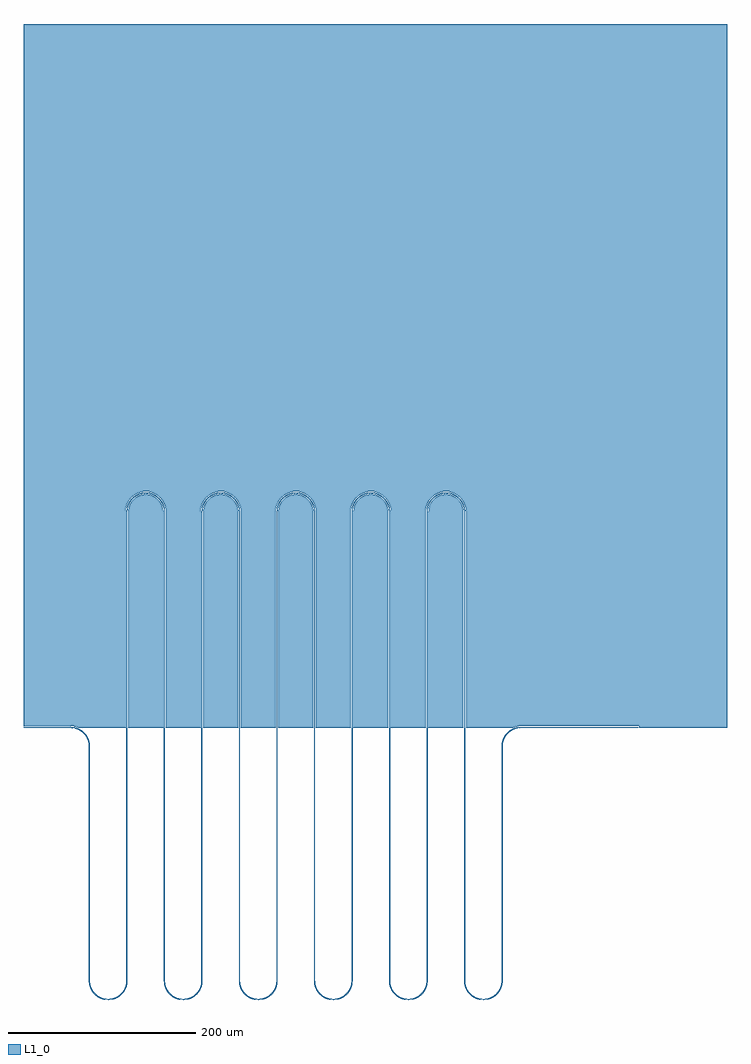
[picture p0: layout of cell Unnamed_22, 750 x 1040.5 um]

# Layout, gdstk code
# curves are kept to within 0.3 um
import gdstk
lib = gdstk.Library(unit=1e-6, precision=1e-09)
def P(c, l, *ps):  # polygons
    for p in ps: c.add(gdstk.Polygon(p, *l))
L1_0 = (1, 0)

unnamed_24 = lib.new_cell('Unnamed_24')
P(unnamed_24, L1_0, [(89.871,-290.5),(86.017,-290.109),(82.305,-289.001),(78.867,-287.214),(76.016,-284.99),(73.446,-282.091),(71.466,-278.761),(70.215,-275.368),(69.559,-271.55),(69.5,-20.002),(69.275,-17.047),(68.606,-14.162),(67.615,-11.635),(66.417,-9.476),(64.955,-7.487),(63.255,-5.697),(61.14,-3.995),(59.028,-2.716),(56.772,-1.714),(54.167,-0.95),(50.247,-0.502),(0,-0.5),(0,0.5),(50.002,0.5),(53.872,0.131),(56.384,-0.519),(58.794,-1.482),(61.063,-2.742),(63.155,-4.278),(65.036,-6.066),(66.676,-8.077),(68.049,-10.279),(69.132,-12.637),(70.131,-16.128),(70.5,-19.998),(70.5,-269.998),(70.723,-272.941),(71.387,-275.815),(72.586,-278.776),(74.253,-281.502),(76.168,-283.745),(78.598,-285.819),(81.334,-287.469),(84.068,-288.576),(87.181,-289.295),(90.369,-289.496),(93.548,-289.175),(96.631,-288.338),(99.321,-287.128),(101.798,-285.526),(104.174,-283.392),(106.032,-281.101),(107.629,-278.334),(108.46,-276.283),(108.999,-274.391),(109.374,-272.209),(109.5,-269.998),(109.502,230.259),(109.775,233.347),(110.511,236.359),(111.693,239.226),(113.146,241.67),(115.099,244.078),(117.393,246.165),(119.975,247.881),(122.786,249.189),(125.763,250.057),(128.837,250.467),(131.937,250.408),(134.993,249.883),(137.935,248.902),(140.695,247.489),(143.407,245.508),(145.593,243.309),(147.421,240.805),(148.852,238.054),(149.851,235.118),(150.396,232.066),(150.5,230.002),(150.514,-270.738),(151.001,-274.391),(152.267,-278.111),(154.109,-281.302),(156.519,-284.09),(159.411,-286.374),(162.68,-288.074),(166.211,-289.128),(169.877,-289.5),(173.548,-289.175),(177.32,-288.074),(180.589,-286.374),(183.481,-284.09),(185.891,-281.302),(187.733,-278.111),(188.999,-274.391),(189.486,-270.738),(189.5,230.002),(189.604,232.066),(189.916,234.11),(191.048,237.815),(192.579,240.805),(194.577,243.504),(196.989,245.842),(199.75,247.754),(202.786,249.189),(206.271,250.158),(209.612,250.496),(212.964,250.285),(216.236,249.528),(219.341,248.248),(222.196,246.478),(224.722,244.265),(226.854,241.67),(228.534,238.761),(229.715,235.617),(230.368,232.323),(230.5,230.002),(230.514,-270.738),(231.001,-274.391),(232.166,-277.886),(233.968,-281.101),(236.343,-283.918),(239.205,-286.239),(242.453,-287.98),(245.97,-289.079),(249.631,-289.496),(253.548,-289.175),(257.091,-288.165),(260.589,-286.374),(263.481,-284.09),(265.891,-281.302),(267.733,-278.111),(268.999,-274.391),(269.486,-270.738),(269.5,230.002),(269.632,232.323),(270.357,235.866),(271.693,239.226),(273.599,242.299),(275.828,244.812),(278.651,247.072),(281.828,248.801),(285.007,249.883),(288.579,250.451),(292.194,250.382),(295.742,249.68),(298.878,248.478),(301.987,246.63),(304.541,244.45),(306.854,241.67),(308.643,238.527),(309.851,235.118),(310.337,232.58),(310.5,230.002),(310.514,-270.738),(311.001,-274.391),(312.267,-278.111),(314.109,-281.302),(316.519,-284.09),(319.411,-286.374),(322.68,-288.074),(326.452,-289.175),(330.123,-289.5),(333.789,-289.128),(337.32,-288.074),(340.589,-286.374),(343.481,-284.09),(345.891,-281.302),(347.733,-278.111),(348.999,-274.391),(349.486,-270.738),(349.5,230.002),(349.604,232.066),(350.215,235.368),(351.251,238.291),(352.716,241.024),(354.748,243.698),(356.989,245.842),(359.75,247.754),(362.786,249.189),(365.763,250.057),(368.837,250.467),(372.194,250.382),(375.243,249.818),(378.409,248.696),(381.133,247.214),(383.794,245.165),(386.085,242.709),(387.818,240.138),(388.952,237.815),(389.785,235.368),(390.303,232.836),(390.5,230.002),(390.514,-270.738),(391.001,-274.391),(392.267,-278.111),(394.109,-281.302),(396.519,-284.09),(399.411,-286.374),(402.68,-288.074),(406.452,-289.175),(410.123,-289.5),(413.789,-289.128),(417.32,-288.074),(420.589,-286.374),(423.481,-284.09),(425.891,-281.302),(427.733,-278.111),(428.999,-274.391),(429.486,-270.738),(429.5,230.002),(429.604,232.066),(430.026,234.616),(430.766,237.092),(431.811,239.456),(433.294,241.882),(434.922,243.889),(436.989,245.842),(439.305,247.489),(441.591,248.696),(444.01,249.606),(446.78,250.246),(449.353,250.49),(451.937,250.408),(454.742,249.944),(457.214,249.189),(459.571,248.129),(461.776,246.78),(463.601,245.338),(465.252,243.698),(466.706,241.882),(468.068,239.685),(469.049,237.575),(469.785,235.368),(470.266,233.092),(470.493,230.517),(470.502,-270.246),(470.803,-273.427),(471.621,-276.515),(472.931,-279.429),(474.7,-282.089),(476.519,-284.09),(478.798,-285.962),(481.334,-287.469),(484.068,-288.576),(486.695,-289.218),(489.631,-289.496),(492.332,-289.36),(495.225,-288.787),(497.999,-287.784),(500.382,-286.506),(502.753,-284.752),(504.671,-282.846),(506.441,-280.486),(507.733,-278.111),(508.685,-275.58),(509.312,-272.698),(509.5,-269.998),(509.502,-19.74),(509.736,-16.896),(510.364,-14.111),(511.372,-11.441),(512.742,-8.937),(514.112,-7.045),(515.689,-5.322),(517.658,-3.631),(519.6,-2.334),(521.678,-1.265),(523.863,-0.44),(526.128,0.131),(528.702,0.459),(655,0.5),(655,-0.5),(528.519,-0.556),(526.075,-0.899),(523.693,-1.548),(521.412,-2.493),(519.269,-3.718),(517.298,-5.204),(515.531,-6.928),(513.995,-8.86),(512.716,-10.972),(511.801,-12.996),(511.062,-15.352),(510.656,-17.536),(510.502,-19.753),(510.493,-270.517),(510.225,-273.347),(509.489,-276.359),(508.307,-279.226),(506.854,-281.67),(504.901,-284.078),(502.607,-286.165),(500.025,-287.881),(497.214,-289.189),(494.237,-290.057),(491.163,-290.467),(488.063,-290.408),(485.007,-289.883),(482.065,-288.902),(479.305,-287.489),(476.593,-285.508),(474.407,-283.309),(472.579,-280.805),(471.148,-278.054),(470.149,-275.118),(469.604,-272.066),(469.5,-270.002),(469.486,230.738),(468.999,234.391),(467.733,238.111),(465.891,241.302),(463.481,244.09),(460.589,246.374),(457.32,248.074),(453.789,249.128),(450.123,249.5),(446.452,249.175),(442.68,248.074),(439.411,246.374),(436.519,244.09),(434.109,241.302),(432.267,238.111),(431.001,234.391),(430.514,230.738),(430.5,-270.002),(430.396,-272.066),(430.084,-274.11),(428.952,-277.815),(427.421,-280.805),(425.423,-283.504),(423.011,-285.842),(420.25,-287.754),(417.214,-289.189),(413.729,-290.158),(410.388,-290.496),(407.036,-290.285),(403.764,-289.528),(400.659,-288.248),(397.804,-286.478),(395.278,-284.265),(393.146,-281.67),(391.466,-278.761),(390.285,-275.617),(389.632,-272.323),(389.5,-270.002),(389.486,230.738),(388.999,234.391),(387.834,237.886),(386.032,241.101),(383.657,243.918),(380.795,246.239),(377.547,247.98),(374.03,249.079),(370.369,249.496),(366.452,249.175),(362.909,248.165),(359.411,246.374),(356.519,244.09),(354.109,241.302),(352.267,238.111),(351.001,234.391),(350.514,230.738),(350.5,-270.002),(350.368,-272.323),(349.643,-275.866),(348.307,-279.226),(346.401,-282.299),(344.172,-284.812),(341.349,-287.072),(338.172,-288.801),(334.993,-289.883),(331.421,-290.451),(327.806,-290.382),(324.258,-289.68),(321.122,-288.478),(318.013,-286.63),(315.459,-284.45),(313.146,-281.67),(311.357,-278.527),(310.149,-275.118),(309.663,-272.58),(309.5,-270.002),(309.486,230.738),(308.999,234.391),(307.733,238.111),(305.891,241.302),(303.481,244.09),(300.589,246.374),(297.32,248.074),(293.548,249.175),(289.877,249.5),(286.211,249.128),(282.68,248.074),(279.411,246.374),(276.519,244.09),(274.109,241.302),(272.267,238.111),(271.001,234.391),(270.514,230.738),(270.5,-270.002),(270.396,-272.066),(269.785,-275.368),(268.749,-278.291),(267.284,-281.024),(265.252,-283.698),(263.011,-285.842),(260.25,-287.754),(257.214,-289.189),(254.237,-290.057),(251.163,-290.467),(247.806,-290.382),(244.757,-289.818),(241.591,-288.696),(238.867,-287.214),(236.206,-285.165),(233.915,-282.709),(232.182,-280.138),(231.048,-277.815),(230.215,-275.368),(229.697,-272.836),(229.5,-270.002),(229.486,230.738),(228.999,234.391),(227.733,238.111),(225.891,241.302),(223.481,244.09),(220.589,246.374),(217.32,248.074),(213.548,249.175),(209.877,249.5),(206.211,249.128),(202.68,248.074),(199.411,246.374),(196.519,244.09),(194.109,241.302),(192.267,238.111),(191.001,234.391),(190.514,230.738),(190.5,-270.002),(190.396,-272.066),(189.851,-275.118),(188.852,-278.054),(187.421,-280.805),(185.593,-283.309),(183.407,-285.508),(180.914,-287.353),(178.172,-288.801),(175.243,-289.818),(172.194,-290.382),(169.095,-290.48),(166.017,-290.109),(163.029,-289.278),(160.201,-288.006),(157.597,-286.323),(155.278,-284.265),(153.294,-281.882),(151.693,-279.226),(150.511,-276.359),(149.734,-273.092),(149.5,-270.002),(149.486,230.738),(148.999,234.391),(147.733,238.111),(145.891,241.302),(143.481,244.09),(140.589,246.374),(137.091,248.165),(133.548,249.175),(129.631,249.496),(125.97,249.079),(122.453,247.98),(119.205,246.239),(116.343,243.918),(113.968,241.101),(112.166,237.886),(111.001,234.391),(110.514,230.738),(110.441,-271.55),(109.785,-275.368),(108.534,-278.761),(106.554,-282.091),(103.984,-284.99),(100.914,-287.353),(97.455,-289.096),(93.729,-290.158)])

unnamed_26 = lib.new_cell('Unnamed_26')
P(unnamed_26, L1_0, [(111.5,0),(111.554,231.406),(112.206,235.063),(113.585,238.532),(115.624,241.644),(118.075,244.144),(121.15,246.246),(124.381,247.626),(128.027,248.394),(131.512,248.438),(137.796,246.777),(143.129,243.034),(146.823,237.697),(147.972,234.387),(148.464,231.16),(148.5,0)],
  [(191.5,0),(191.554,231.406),(192.206,235.063),(193.585,238.532),(195.624,241.644),(198.075,244.144),(201.15,246.246),(204.381,247.626),(208.027,248.394),(211.512,248.438),(217.796,246.777),(223.129,243.034),(226.823,237.697),(227.972,234.387),(228.464,231.16),(228.5,0)],
  [(271.5,0),(271.554,231.406),(272.206,235.063),(273.585,238.532),(275.624,241.644),(278.075,244.144),(281.15,246.246),(284.381,247.626),(288.027,248.394),(291.512,248.438),(297.796,246.777),(303.129,243.034),(306.823,237.697),(307.972,234.387),(308.464,231.16),(308.5,0)],
  [(351.5,0),(351.554,231.406),(352.206,235.063),(353.585,238.532),(355.624,241.644),(358.075,244.144),(361.15,246.246),(364.381,247.626),(368.027,248.394),(371.512,248.438),(377.796,246.777),(383.129,243.034),(386.823,237.697),(387.972,234.387),(388.464,231.16),(388.5,0)],
  [(431.5,0),(431.554,231.406),(432.206,235.063),(433.585,238.532),(435.624,241.644),(438.075,244.144),(441.15,246.246),(444.381,247.626),(448.027,248.394),(451.512,248.438),(457.796,246.777),(463.129,243.034),(466.823,237.697),(467.972,234.387),(468.464,231.16),(468.5,0)],
  [(57.887,0),(54.329,1.059),(50.544,1.493),(0,1.5),(0,750),(750,750),(750,0),(656,0),(656,1.5),(529.726,1.498),(525.939,1.113),(522.112,0),(471.5,0),(471.416,231.895),(470.75,235.631),(469.321,239.433),(467.202,242.898),(464.667,245.721),(461.676,248.054),(458.07,249.928),(454.178,251.09),(450.137,251.5),(446.351,251.188),(442.434,250.125),(438.783,248.342),(435.533,245.905),(432.798,242.898),(430.679,239.433),(429.25,235.631),(428.584,231.895),(428.5,0),(391.5,0),(391.416,231.895),(390.75,235.631),(389.321,239.433),(387.202,242.898),(384.667,245.721),(381.676,248.054),(378.07,249.928),(374.178,251.09),(370.137,251.5),(366.351,251.188),(362.434,250.125),(358.783,248.342),(355.533,245.905),(352.798,242.898),(350.679,239.433),(349.25,235.631),(348.584,231.895),(348.5,0),(311.5,0),(311.416,231.895),(310.75,235.631),(309.321,239.433),(307.202,242.898),(304.667,245.721),(301.676,248.054),(298.07,249.928),(294.178,251.09),(290.137,251.5),(286.351,251.188),(282.434,250.125),(278.783,248.342),(275.533,245.905),(272.798,242.898),(270.679,239.433),(269.25,235.631),(268.584,231.895),(268.5,0),(231.5,0),(231.416,231.895),(230.75,235.631),(229.321,239.433),(227.202,242.898),(224.667,245.721),(221.676,248.054),(218.07,249.928),(214.178,251.09),(210.137,251.5),(206.351,251.188),(202.434,250.125),(198.783,248.342),(195.533,245.905),(192.798,242.898),(190.679,239.433),(189.25,235.631),(188.584,231.895),(188.5,0),(151.5,0),(151.416,231.895),(150.75,235.631),(149.321,239.433),(147.202,242.898),(144.667,245.721),(141.676,248.054),(138.07,249.928),(134.178,251.09),(130.137,251.5),(126.351,251.188),(122.434,250.125),(118.783,248.342),(115.533,245.905),(112.798,242.898),(110.679,239.433),(109.25,235.631),(108.584,231.895),(108.5,0)])

unnamed_22 = lib.new_cell('Unnamed_22')
unnamed_22.add(gdstk.Reference(unnamed_24, (0,0)))
unnamed_22.add(gdstk.Reference(unnamed_26, (0,0)))

lib.write_gds('Unnamed_22.gds')
